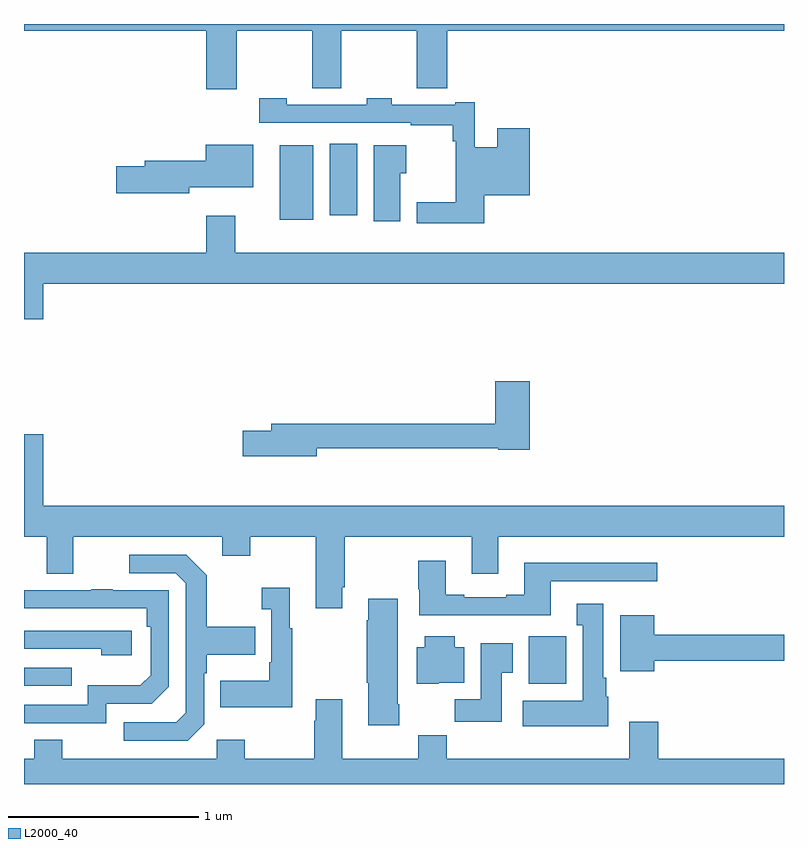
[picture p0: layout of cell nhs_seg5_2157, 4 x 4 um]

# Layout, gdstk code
import gdstk
lib = gdstk.Library(unit=1e-6, precision=1e-09)
def R(c, l, rs):  # rectangles x0, y0, x1, y1
    for r in rs: c.add(gdstk.rectangle(r[:2], r[2:], *l))
def P(c, l, *ps):  # polygons
    for p in ps: c.add(gdstk.Polygon(p, *l))
L2000_40 = (2000, 40)

nhs_seg5_2157 = lib.new_cell('nhs_seg5_2157')
R(nhs_seg5_2157, L2000_40, [(237,849.315,237.251,849.411), (239.657,849.326,239.853,849.577), (238.346,851.768,238.522,852.16), (238.61,851.793,238.753,852.169)])
P(nhs_seg5_2157, L2000_40, [(238.119,852.764),(238.516,852.764),(238.516,852.46),(238.67,852.46),(238.67,852.764),(239.068,852.764),(239.068,852.46),(239.228,852.46),(239.228,852.764),(241,852.764),(241,852.799),(237,852.799),(237,852.764),(237.959,852.764),(237.959,852.456),(238.119,852.456)],
  [(239.423,851.897),(239.663,851.897),(239.663,852.25),(239.492,852.25),(239.492,852.151),(239.373,852.151),(239.373,852.388),(239.27,852.388),(239.27,852.375),(238.935,852.375),(238.935,852.408),(238.803,852.408),(238.803,852.375),(238.383,852.375),(238.383,852.408),(238.239,852.408),(238.239,852.279),(239.035,852.279),(239.035,852.267),(239.257,852.267),(239.257,852.182),(239.272,852.182),(239.272,851.86),(239.067,851.86),(239.067,851.75),(239.423,851.75)],
  [(237.87,851.939),(238.207,851.939),(238.207,852.163),(237.956,852.163),(237.956,852.08),(237.635,852.08),(237.635,852.05),(237.486,852.05),(237.486,851.908),(237.87,851.908)],
  [(238.981,852.013),(239.011,852.013),(239.011,852.16),(238.841,852.16),(238.841,851.76),(238.981,851.76)],
  [(237.1,851.432),(241,851.432),(241,851.596),(238.111,851.596),(238.111,851.791),(237.959,851.791),(237.959,851.596),(237,851.596),(237,851.244),(237.1,851.244)],
  [(238.54,850.566),(239.496,850.566),(239.496,850.558),(239.663,850.558),(239.663,850.918),(239.48,850.918),(239.48,850.694),(238.301,850.694),(238.301,850.658),(238.152,850.658),(238.152,850.523),(238.54,850.523)],
  [(238.675,849.835),(238.688,849.835),(238.688,850.1),(239.357,850.1),(239.357,849.906),(239.497,849.906),(239.497,850.1),(241,850.1),(241,850.264),(237.1,850.264),(237.1,850.639),(237,850.639),(237,850.1),(237.119,850.1),(237.119,849.906),(237.259,849.906),(237.259,850.1),(238.043,850.1),(238.043,850.001),(238.191,850.001),(238.191,850.1),(238.535,850.1),(238.535,849.723),(238.675,849.723)],
  [(237.948,849.114),(237.948,849.383),(237.961,849.383),(237.961,849.479),(238.217,849.479),(238.217,849.627),(237.961,849.627),(237.961,849.899),(237.855,850.005),(237.555,850.005),(237.555,849.909),(237.798,849.909),(237.852,849.855),(237.852,849.174),(237.801,849.123),(237.525,849.123),(237.525,849.027),(237.861,849.027)],
  [(239.773,849.867),(240.334,849.867),(240.334,849.964),(239.633,849.964),(239.633,849.796),(239.537,849.796),(239.537,849.783),(239.317,849.783),(239.317,849.796),(239.221,849.796),(239.221,849.973),(239.074,849.973),(239.074,849.825),(239.081,849.825),(239.081,849.686),(239.773,849.686)],
  [(238.411,849.619),(238.399,849.619),(238.399,849.832),(238.251,849.832),(238.251,849.719),(238.302,849.719),(238.302,849.439),(238.29,849.439),(238.29,849.343),(238.033,849.343),(238.033,849.203),(238.411,849.203)],
  [(237.432,849.222),(237.672,849.222),(237.762,849.312),(237.762,849.819),(237.467,849.819),(237.467,849.824),(237.355,849.824),(237.355,849.819),(237,849.819),(237,849.723),(237.646,849.723),(237.646,849.626),(237.666,849.626),(237.666,849.372),(237.613,849.319),(237.336,849.319),(237.336,849.216),(237,849.216),(237,849.12),(237.432,849.12)],
  [(238.974,849.22),(238.966,849.22),(238.966,849.775),(238.811,849.775),(238.811,849.662),(238.804,849.662),(238.804,849.331),(238.811,849.331),(238.811,849.108),(238.974,849.108)],
  [(240.076,849.258),(240.064,849.258),(240.064,849.358),(240.049,849.358),(240.049,849.748),(239.909,849.748),(239.909,849.635),(239.942,849.635),(239.942,849.238),(239.625,849.238),(239.625,849.104),(240.076,849.104)],
  [(240.316,849.448),(241,849.448),(241,849.584),(240.316,849.584),(240.316,849.688),(240.137,849.688),(240.137,849.392),(240.316,849.392)],
  [(237.568,849.606),(237,849.606),(237,849.51),(237.407,849.51),(237.407,849.476),(237.568,849.476)],
  [(239.184,849.332),(239.317,849.332),(239.317,849.52),(239.266,849.52),(239.266,849.577),(239.108,849.577),(239.108,849.52),(239.066,849.52),(239.066,849.326),(239.184,849.326)],
  [(239.515,849.385),(239.572,849.385),(239.572,849.541),(239.405,849.541),(239.405,849.244),(239.266,849.244),(239.266,849.126),(239.515,849.126)],
  [(241,848.932),(240.338,848.932),(240.338,849.127),(240.185,849.127),(240.185,848.932),(239.225,848.932),(239.225,849.056),(239.074,849.056),(239.074,848.932),(238.675,848.932),(238.675,849.244),(238.535,849.244),(238.535,849.131),(238.528,849.131),(238.528,848.932),(238.161,848.932),(238.161,849.031),(238.014,849.031),(238.014,848.932),(237.201,848.932),(237.201,849.031),(237.053,849.031),(237.053,848.932),(237,848.932),(237,848.799),(241,848.799)])

lib.write_gds('nhs_seg5_2157.gds')
